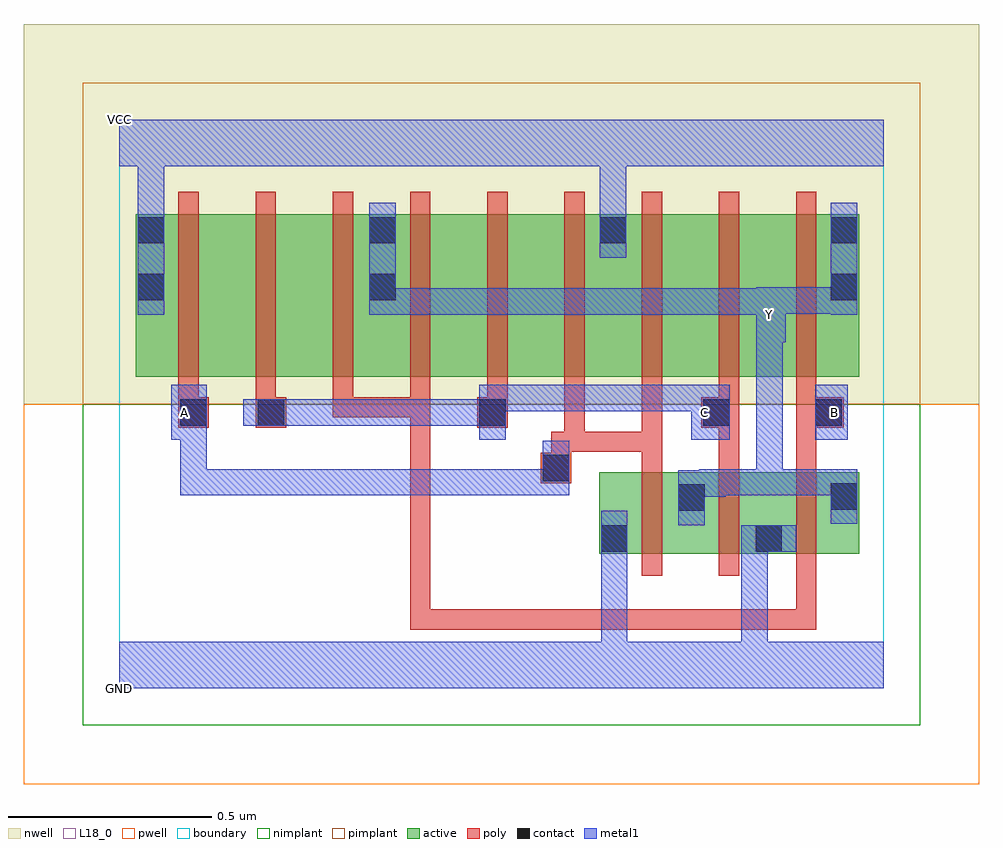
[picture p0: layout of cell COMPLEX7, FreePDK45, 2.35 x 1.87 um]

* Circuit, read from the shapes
.subckt COMPLEX7 A B C GND VCC Y
M1 Y A GND VSUBS nfet w=0.2u l=0.05u
M2 GND C Y VSUBS nfet w=0.2u l=0.05u
M3 Y B GND VSUBS nfet w=0.2u l=0.05u
M4 n1 A VCC n2 pfet w=0.4u l=0.05u
M5 n3 C n1 n2 pfet w=0.4u l=0.05u
M6 Y B n3 n2 pfet w=0.4u l=0.05u
M7 n4 B Y n2 pfet w=0.4u l=0.05u
M8 n5 C n4 n2 pfet w=0.4u l=0.05u
M9 VCC A n5 n2 pfet w=0.4u l=0.05u
M10 n6 A VCC n2 pfet w=0.4u l=0.05u
M11 n7 C n6 n2 pfet w=0.4u l=0.05u
M12 Y B n7 n2 pfet w=0.4u l=0.05u
.ends

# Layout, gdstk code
import gdstk
lib = gdstk.Library(unit=1e-6, precision=1e-09)
def R(c, l, rs):  # rectangles x0, y0, x1, y1
    for r in rs: c.add(gdstk.rectangle(r[:2], r[2:], *l))
def A(c, l, x, y, w, h, nx, ny, dx, dy):  # array of equal rectangles
    R(c, l, [(x+i*dx, y+j*dy, x+i*dx+w, y+j*dy+h) for i in range(nx) for j in range(ny)])
active = (1, 0)
pwell = (2, 0)
nwell = (3, 0)
nimplant = (4, 0)
pimplant = (5, 0)
poly = (9, 0)
contact = (10, 0)
metal1 = (11, 0)
L18_0 = (18, 0)
boundary = (235, 0)

complex7 = lib.new_cell('COMPLEX7')
A(complex7, active, 0.265, 0.767, 0.19, 0.4, 3, 1, 0.57, 0)
R(complex7, active, [(1.18,0.332,1.255,0.532), (1.18,0.332,1.445,0.532), (1.37,0.332,1.635,0.532), (1.37,0.332,1.445,0.507), (1.56,0.332,1.82,0.532), (1.56,0.332,1.635,0.407), (1.745,0.332,1.82,0.532), (0.04,0.767,0.115,1.165), (0.04,0.767,0.265,1.167), (0.455,0.767,0.685,1.167), (0.61,0.767,0.685,1.165), (0.61,0.767,0.835,1.167), (1.025,0.767,1.252,1.167), (1.177,0.767,1.252,1.165), (1.177,0.767,1.405,1.167), (1.595,0.767,1.82,1.167), (1.745,0.767,1.82,1.165)])
R(complex7, pwell, [(-0.235,-0.235,2.115,0.7)])
R(complex7, nwell, [(-0.235,0.7,2.115,1.635)])
R(complex7, nimplant, [(-0.09,-0.09,1.97,0.7)])
R(complex7, pimplant, [(-0.09,0.7,1.97,1.49)])
A(complex7, poly, 1.285, 0.277, 0.05, 0.31, 3, 1, 0.19, 0)
A(complex7, poly, 0.145, 0.667, 0.05, 0.095, 5, 1, 0.19, 0)
A(complex7, poly, 0.145, 0.712, 0.05, 0.51, 9, 1, 0.19, 0)
R(complex7, poly, [(0.715,0.145,0.765,0.195), (0.715,0.145,0.765,0.195), (0.715,0.145,0.765,0.195), (0.715,0.145,0.935,0.195), (0.715,0.145,0.765,0.717), (0.885,0.145,0.935,0.195), (0.885,0.145,0.935,0.195), (0.885,0.145,0.935,0.195), (0.885,0.145,1.127,0.195), (1.077,0.145,1.127,0.195), (1.077,0.145,1.352,0.195), (1.302,0.145,1.352,0.195), (1.302,0.145,1.352,0.195), (1.302,0.145,1.352,0.195), (1.302,0.145,1.485,0.195), (1.435,0.145,1.485,0.195), (1.435,0.145,1.485,0.195), (1.435,0.145,1.485,0.195), (1.435,0.145,1.69,0.195), (1.64,0.145,1.715,0.195), (1.64,0.145,1.69,0.195), (1.665,0.145,1.715,0.327), (1.665,0.145,1.715,0.195), (1.037,0.505,1.112,0.58), (1.062,0.53,1.112,0.632), (1.285,0.537,1.335,0.632), (1.475,0.537,1.525,0.692), (1.665,0.537,1.715,0.692), (1.062,0.582,1.127,0.632), (1.077,0.582,1.127,0.632), (1.077,0.582,1.145,0.632), (1.095,0.582,1.145,0.632), (1.095,0.582,1.145,0.632), (1.095,0.582,1.145,0.762), (1.095,0.582,1.335,0.632), (1.285,0.582,1.335,0.632), (1.285,0.582,1.335,0.762), (0.145,0.642,0.22,0.717), (0.335,0.642,0.41,0.717), (0.88,0.642,0.955,0.717), (1.432,0.642,1.525,0.717), (1.665,0.642,1.782,0.717), (0.525,0.667,0.575,0.717), (0.525,0.667,0.575,0.717), (0.525,0.667,0.575,0.717), (0.525,0.667,0.765,0.717), (0.715,0.667,0.765,0.717), (0.715,0.667,0.765,0.717), (0.715,0.667,0.765,0.717), (0.715,0.667,0.765,0.717), (0.715,0.667,0.765,0.717), (1.475,0.667,1.525,0.762), (1.665,0.667,1.715,0.762)])
R(complex7, contact, [(1.185,0.337,1.25,0.402), (1.565,0.337,1.63,0.402), (1.375,0.437,1.44,0.502), (1.75,0.44,1.815,0.505), (1.042,0.51,1.107,0.575), (0.15,0.647,0.215,0.712), (0.34,0.647,0.405,0.712), (0.885,0.647,0.95,0.712), (1.437,0.647,1.502,0.712), (1.712,0.647,1.777,0.712), (0.045,0.955,0.11,1.02), (0.615,0.955,0.68,1.02), (1.75,0.955,1.815,1.02), (0.045,1.095,0.11,1.16), (0.615,1.095,0.68,1.16), (1.182,1.095,1.247,1.16), (1.75,1.095,1.815,1.16)])
R(complex7, metal1, [(0,0,1.88,0.115), (1.185,0.05,1.25,0.115), (1.185,0.05,1.25,0.115), (1.185,0.05,1.25,0.115), (1.185,0.05,1.25,0.115), (1.185,0.05,1.25,0.115), (1.185,0.05,1.25,0.115), (1.185,0.05,1.25,0.367), (1.53,0.05,1.595,0.115), (1.53,0.05,1.595,0.115), (1.53,0.05,1.595,0.115), (1.53,0.05,1.595,0.115), (1.53,0.05,1.595,0.402), (1.185,0.302,1.25,0.437), (1.53,0.337,1.595,0.402), (1.53,0.337,1.595,0.402), (1.53,0.337,1.665,0.402), (1.375,0.402,1.44,0.537), (1.75,0.405,1.815,0.54), (1.375,0.472,1.492,0.537), (1.427,0.472,1.492,0.54), (0.15,0.475,0.215,0.54), (0.15,0.475,0.44,0.54), (0.15,0.475,0.215,0.677), (0.375,0.475,0.44,0.54), (0.375,0.475,0.44,0.54), (0.375,0.475,0.44,0.54), (0.375,0.475,0.592,0.54), (0.527,0.475,0.592,0.54), (0.527,0.475,0.65,0.54), (0.585,0.475,0.65,0.54), (0.585,0.475,0.812,0.54), (0.747,0.475,0.812,0.54), (0.747,0.475,0.817,0.54), (0.752,0.475,0.817,0.54), (0.752,0.475,0.95,0.54), (0.885,0.475,0.95,0.54), (0.885,0.475,1.04,0.54), (0.975,0.475,1.04,0.54), (0.975,0.475,1.04,0.54), (0.975,0.475,1.04,0.54), (0.975,0.475,1.107,0.54), (1.042,0.475,1.107,0.61), (1.427,0.475,1.632,0.54), (1.567,0.475,1.632,0.54), (1.567,0.475,1.815,0.54), (1.567,0.475,1.632,0.917), (1.75,0.475,1.815,0.54), (1.75,0.475,1.815,0.54), (0.127,0.612,0.215,0.747), (0.15,0.612,0.215,0.677), (0.15,0.612,0.215,0.677), (0.885,0.612,0.95,0.747), (1.407,0.612,1.502,0.747), (1.712,0.612,1.792,0.747), (0.305,0.647,0.44,0.712), (0.375,0.647,0.44,0.712), (0.375,0.647,0.44,0.712), (0.375,0.647,0.645,0.712), (0.58,0.647,0.645,0.712), (0.58,0.647,0.645,0.712), (0.58,0.647,0.645,0.712), (0.58,0.647,0.812,0.712), (0.747,0.647,0.812,0.712), (0.747,0.647,0.902,0.712), (0.837,0.647,0.902,0.712), (0.837,0.647,0.95,0.712), (0.885,0.682,1.04,0.747), (0.975,0.682,1.04,0.747), (0.975,0.682,1.197,0.747), (1.132,0.682,1.197,0.747), (1.132,0.682,1.197,0.747), (1.132,0.682,1.197,0.747), (1.132,0.682,1.335,0.747), (1.27,0.682,1.335,0.747), (1.27,0.682,1.335,0.747), (1.27,0.682,1.335,0.747), (1.27,0.682,1.472,0.747), (1.567,0.852,1.64,0.987), (0.045,0.92,0.11,1.195), (0.615,0.92,0.68,1.195), (0.615,0.92,0.812,0.985), (0.747,0.92,0.812,0.985), (0.747,0.92,0.902,0.985), (0.837,0.92,0.902,0.985), (0.837,0.92,0.95,0.985), (0.885,0.92,0.95,0.985), (0.885,0.92,1.04,0.985), (0.975,0.92,1.04,0.985), (0.975,0.92,1.18,0.985), (1.115,0.92,1.18,0.985), (1.115,0.92,1.18,0.985), (1.115,0.92,1.18,0.985), (1.115,0.92,1.335,0.985), (1.27,0.92,1.335,0.985), (1.27,0.92,1.335,0.985), (1.27,0.92,1.335,0.985), (1.27,0.92,1.64,0.985), (1.575,0.92,1.64,0.985), (1.575,0.92,1.64,0.985), (1.575,0.92,1.64,0.985), (1.575,0.92,1.64,0.987), (1.75,0.92,1.815,1.195), (1.575,0.922,1.815,0.987), (1.75,0.922,1.815,0.987), (1.75,0.922,1.815,0.987), (1.182,1.06,1.247,1.195), (0.045,1.13,0.11,1.35), (1.182,1.13,1.247,1.35), (0,1.285,1.88,1.4)])
R(complex7, L18_0, [(0,0,1.88,0.115), (1.185,0.05,1.25,0.115), (1.185,0.05,1.25,0.115), (1.185,0.05,1.25,0.115), (1.185,0.05,1.25,0.115), (1.185,0.05,1.25,0.115), (1.185,0.05,1.25,0.115), (1.185,0.05,1.25,0.367), (1.53,0.05,1.595,0.115), (1.53,0.05,1.595,0.115), (1.53,0.05,1.595,0.115), (1.53,0.05,1.595,0.115), (1.53,0.05,1.595,0.402), (1.185,0.302,1.25,0.437), (1.53,0.337,1.595,0.402), (1.53,0.337,1.595,0.402), (1.53,0.337,1.665,0.402), (1.375,0.402,1.44,0.537), (1.75,0.405,1.815,0.54), (1.375,0.472,1.492,0.537), (1.427,0.472,1.492,0.54), (0.15,0.475,0.215,0.54), (0.15,0.475,0.215,0.677), (0.15,0.475,0.44,0.54), (0.375,0.475,0.44,0.54), (0.375,0.475,0.44,0.54), (0.375,0.475,0.44,0.54), (0.375,0.475,0.592,0.54), (0.527,0.475,0.592,0.54), (0.527,0.475,0.65,0.54), (0.585,0.475,0.65,0.54), (0.585,0.475,0.812,0.54), (0.747,0.475,0.812,0.54), (0.747,0.475,0.817,0.54), (0.752,0.475,0.817,0.54), (0.752,0.475,0.95,0.54), (0.885,0.475,0.95,0.54), (0.885,0.475,1.04,0.54), (0.975,0.475,1.04,0.54), (0.975,0.475,1.04,0.54), (0.975,0.475,1.04,0.54), (0.975,0.475,1.107,0.54), (1.042,0.475,1.107,0.61), (1.427,0.475,1.632,0.54), (1.567,0.475,1.632,0.54), (1.567,0.475,1.632,0.917), (1.567,0.475,1.815,0.54), (1.75,0.475,1.815,0.54), (1.75,0.475,1.815,0.54), (0.127,0.612,0.215,0.747), (0.15,0.612,0.215,0.677), (0.15,0.612,0.215,0.677), (0.885,0.612,0.95,0.747), (1.407,0.612,1.502,0.747), (1.712,0.612,1.792,0.747), (0.127,0.647,0.192,0.712), (0.305,0.647,0.44,0.712), (0.375,0.647,0.44,0.712), (0.375,0.647,0.44,0.712), (0.375,0.647,0.645,0.712), (0.58,0.647,0.645,0.712), (0.58,0.647,0.645,0.712), (0.58,0.647,0.645,0.712), (0.58,0.647,0.812,0.712), (0.747,0.647,0.812,0.712), (0.747,0.647,0.902,0.712), (0.837,0.647,0.902,0.712), (0.837,0.647,0.95,0.712), (1.407,0.647,1.472,0.712), (1.727,0.647,1.792,0.712), (0.885,0.682,1.04,0.747), (0.975,0.682,1.04,0.747), (0.975,0.682,1.197,0.747), (1.132,0.682,1.197,0.747), (1.132,0.682,1.197,0.747), (1.132,0.682,1.197,0.747), (1.132,0.682,1.335,0.747), (1.27,0.682,1.335,0.747), (1.27,0.682,1.335,0.747), (1.27,0.682,1.335,0.747), (1.27,0.682,1.472,0.747), (1.567,0.852,1.64,0.987), (1.567,0.887,1.632,0.952), (0.045,0.92,0.11,1.195), (0.615,0.92,0.68,1.195), (0.615,0.92,0.812,0.985), (0.747,0.92,0.812,0.985), (0.747,0.92,0.902,0.985), (0.837,0.92,0.902,0.985), (0.837,0.92,0.95,0.985), (0.885,0.92,0.95,0.985), (0.885,0.92,1.04,0.985), (0.975,0.92,1.04,0.985), (0.975,0.92,1.18,0.985), (1.115,0.92,1.18,0.985), (1.115,0.92,1.18,0.985), (1.115,0.92,1.18,0.985), (1.115,0.92,1.335,0.985), (1.27,0.92,1.335,0.985), (1.27,0.92,1.335,0.985), (1.27,0.92,1.335,0.985), (1.27,0.92,1.64,0.985), (1.575,0.92,1.64,0.985), (1.575,0.92,1.64,0.985), (1.575,0.92,1.64,0.985), (1.575,0.92,1.64,0.987), (1.75,0.92,1.815,1.195), (1.575,0.922,1.815,0.987), (1.75,0.922,1.815,0.987), (1.75,0.922,1.815,0.987), (1.182,1.06,1.247,1.195), (0.045,1.13,0.11,1.35), (1.182,1.13,1.247,1.35), (0,1.285,1.88,1.4)])
R(complex7, boundary, [(0,0,1.88,1.4)])
complex7.add(gdstk.Label('A', (0.16,0.68), layer=11, texttype=0))
complex7.add(gdstk.Label('B', (1.76,0.68), layer=11, texttype=0))
complex7.add(gdstk.Label('C', (1.44,0.68), layer=11, texttype=0))
complex7.add(gdstk.Label('Y', (1.6,0.92), layer=11, texttype=0))
complex7.add(gdstk.Label('VCC', (0,1.4), layer=11, texttype=0))
complex7.add(gdstk.Label('GND', (0,0), layer=11, texttype=0))

lib.write_gds('COMPLEX7.gds')
